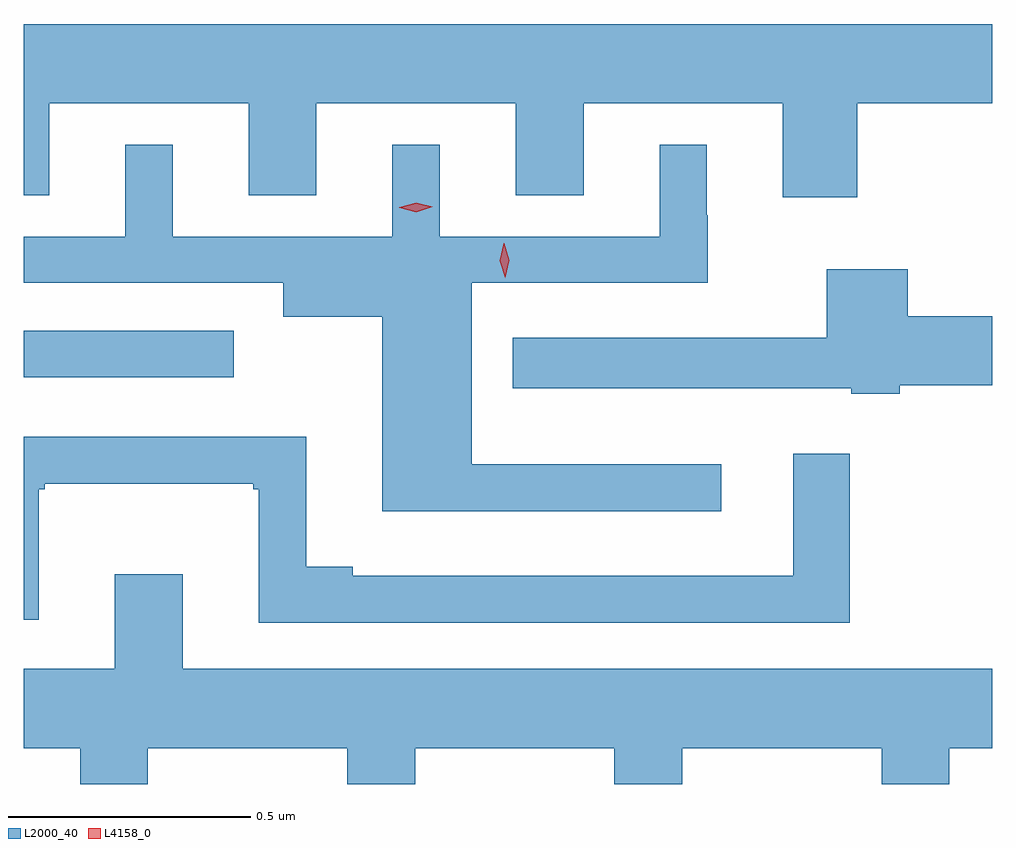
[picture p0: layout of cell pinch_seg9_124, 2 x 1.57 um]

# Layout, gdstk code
import gdstk
lib = gdstk.Library(unit=1e-6, precision=1e-09)
def R(c, l, rs):  # rectangles x0, y0, x1, y1
    for r in rs: c.add(gdstk.rectangle(r[:2], r[2:], *l))
def P(c, l, *ps):  # polygons
    for p in ps: c.add(gdstk.Polygon(p, *l))
L2000_40 = (2000, 40)
L4158_0 = (4158, 0)

pinch_seg9_124 = lib.new_cell('pinch_seg9_124')
R(pinch_seg9_124, L2000_40, [(827.235,1234.482,827.668,1234.578)])
P(pinch_seg9_124, L2000_40, [(828.956,1235.048),(829.235,1235.048),(829.235,1235.212),(827.235,1235.212),(827.235,1234.858),(827.287,1234.858),(827.287,1235.048),(827.699,1235.048),(827.699,1234.858),(827.839,1234.858),(827.839,1235.048),(828.251,1235.048),(828.251,1234.858),(828.391,1234.858),(828.391,1235.048),(828.803,1235.048),(828.803,1234.854),(828.956,1234.854)],
  [(828.676,1234.303),(828.16,1234.303),(828.16,1234.677),(828.648,1234.677),(828.648,1234.817),(828.646,1234.817),(828.646,1234.963),(828.548,1234.963),(828.548,1234.773),(828.094,1234.773),(828.094,1234.963),(827.996,1234.963),(827.996,1234.773),(827.542,1234.773),(827.542,1234.963),(827.444,1234.963),(827.444,1234.773),(827.235,1234.773),(827.235,1234.677),(827.771,1234.677),(827.771,1234.607),(827.975,1234.607),(827.975,1234.205),(828.676,1234.205)],
  [(829.044,1234.466),(829.235,1234.466),(829.235,1234.608),(829.061,1234.608),(829.061,1234.705),(828.893,1234.705),(828.893,1234.564),(828.245,1234.564),(828.245,1234.46),(828.944,1234.46),(828.944,1234.448),(829.044,1234.448)],
  [(828.941,1234.324),(828.824,1234.324),(828.824,1234.072),(827.914,1234.072),(827.914,1234.091),(827.818,1234.091),(827.818,1234.359),(827.235,1234.359),(827.235,1233.981),(827.266,1233.981),(827.266,1234.251),(827.278,1234.251),(827.278,1234.262),(827.709,1234.262),(827.709,1234.251),(827.72,1234.251),(827.72,1233.975),(828.941,1233.975)],
  [(827.491,1233.716),(827.903,1233.716),(827.903,1233.642),(828.043,1233.642),(828.043,1233.716),(828.455,1233.716),(828.455,1233.642),(828.595,1233.642),(828.595,1233.716),(829.007,1233.716),(829.007,1233.642),(829.147,1233.642),(829.147,1233.716),(829.235,1233.716),(829.235,1233.88),(827.563,1233.88),(827.563,1234.075),(827.423,1234.075),(827.423,1233.88),(827.235,1233.88),(827.235,1233.716),(827.351,1233.716),(827.351,1233.642),(827.491,1233.642)])
P(pinch_seg9_124, L4158_0, [(828.229,1234.688),(828.229,1234.688),(828.218,1234.723),(828.226,1234.759),(828.226,1234.759),(828.227,1234.759),(828.238,1234.724),(828.229,1234.688)],
  [(828.045,1234.823),(828.01,1234.832),(828.01,1234.832),(828.01,1234.833),(828.045,1234.843),(828.08,1234.834),(828.08,1234.834),(828.08,1234.834)])

lib.write_gds('pinch_seg9_124.gds')
